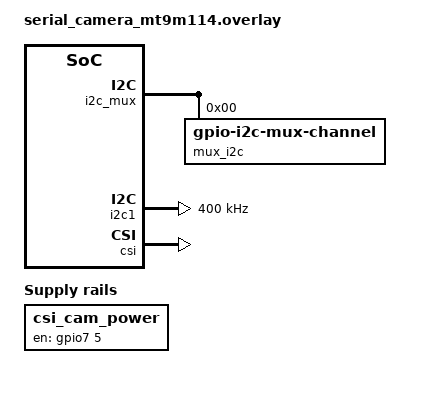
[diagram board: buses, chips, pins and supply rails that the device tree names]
/* Copyright (C) Alif Semiconductor - All Rights Reserved.
 * Use, distribution and modification of this code is permitted under the
 * terms stated in the Alif Semiconductor Software License Agreement
 *
 * You should have received a copy of the Alif Semiconductor Software
 * License Agreement with this file. If not, please write to:
 * contact@alifsemi.com, or visit: https: //alifsemi.com/license
 *
 */

#include <dt-bindings/pinctrl/ensemble-pinctrl.h>
#include <dt-bindings/i2c/i2c.h>
#include <dt-bindings/gpio/gpio.h>
#include <dt-bindings/video/video-interfaces.h>

&i2c1 {
	status = "okay";
	clock-frequency = <I2C_BITRATE_FAST>;

	/*
	 * For Standard  speed LCNT=0 and HCNT=0
	 * For Fast      speed LCNT=50 and HCNT=30
	 * For Fast Plus speed LCNT=35 and HCNT=5
	 */
	hcnt-offset = <30>;
	lcnt-offset = <50>;
};

&gpio7 {
	status = "okay";
};

&gpio14 {
	status = "okay";
};

/ {
	csi_cam_power: regulator-v1.2-v1.8v {
		compatible = "regulator-fixed";

		regulator-name = "MIPI supply";

		enable-gpios = < &gpio7 5 GPIO_ACTIVE_HIGH >;

		regulator-boot-on;
		regulator-always-on;
		status = "okay";
	};

	i2c_mux: i2c-mux {
		compatible = "gpio-i2c-mux";
		status = "okay";
		#address-cells = <1>;
		#size-cells = <0>;

		i2c-inst = <&i2c1>;

		ctrl-gpios = <&gpio14 3 GPIO_ACTIVE_HIGH>;

		mux_i2c@0 {
			compatible = "gpio-i2c-mux-channel";
			reg = <0>;

			#address-cells = <1>;
			#size-cells = <0>;

			mt9m114_selfie: mt9m114_selfie@5d {
				compatible = "aptina,mt9m114";
				reg = <0x5d>;

				reset-gpios = <&gpio14 4 GPIO_ACTIVE_LOW>;

				status = "okay";

				port {
					mt9m114_csi2_ep_out0: endpoint {
						bus-type = <VIDEO_BUS_TYPE_CSI2_DPHY>;
						link-frequencies = < 384000000 >;
						data-lanes = <1>;
						clock-lane = <0>;

						remote-endpoint-label = "csi2_ep_in0";
					};
				};
			};
		};
	};
};

&csi {
	status = "okay";

	/* Selfie camera D-PHY */
	phy-if = <&dphy 0>;
	ports {
		#address-cells = <1>;
		#size-cells = <0>;
		port@0 {
			reg = <0>;
			csi2_ep_in0: endpoint {
				bus-type = <VIDEO_BUS_TYPE_CSI2_DPHY>;
				link-frequencies = < 384000000 >;
				data-lanes = <1>;
				clock-lane = <0>;

				remote-endpoint-label = "mt9m114_csi2_ep_out0";
			};
		};
		port@2 {
			reg = <2>;
			csi2_ep_out: endpoint {
				remote-endpoint-label = "cam_csi2_ep_in";
				bus-type = <VIDEO_BUS_TYPE_PARALLEL>;
			};
		};
	};
};
